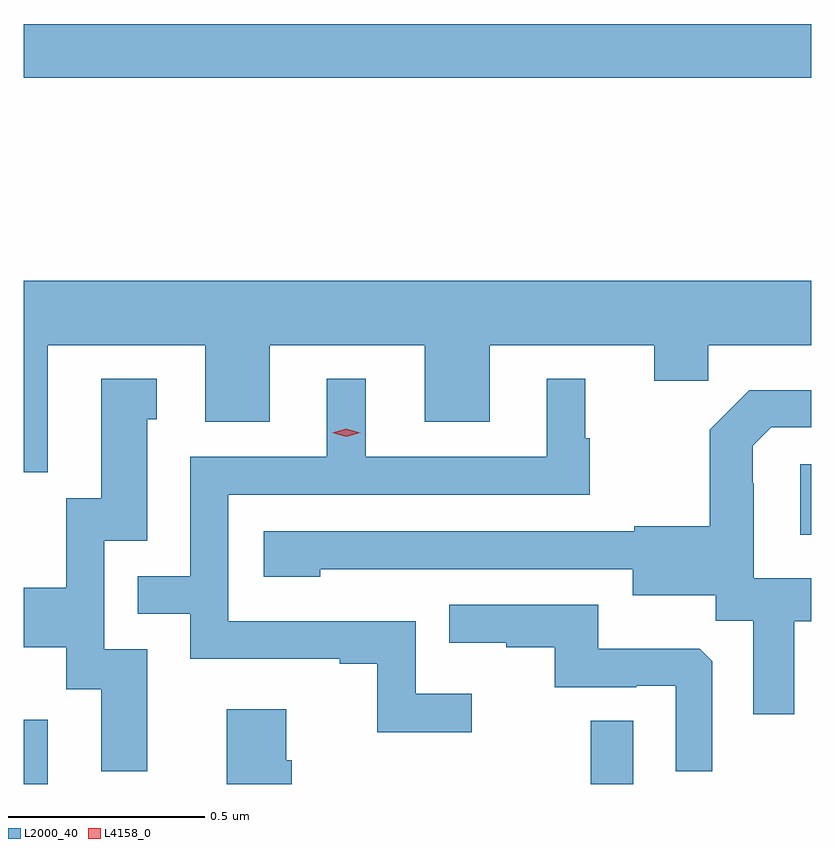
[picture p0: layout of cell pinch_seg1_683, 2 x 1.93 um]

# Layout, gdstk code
import gdstk
lib = gdstk.Library(unit=1e-6, precision=1e-09)
def R(c, l, rs):  # rectangles x0, y0, x1, y1
    for r in rs: c.add(gdstk.rectangle(r[:2], r[2:], *l))
def P(c, l, *ps):  # polygons
    for p in ps: c.add(gdstk.Polygon(p, *l))
L2000_40 = (2000, 40)
L4158_0 = (4158, 0)

pinch_seg1_683 = lib.new_cell('pinch_seg1_683')
R(pinch_seg1_683, L2000_40, [(833.34,577.257,833.401,577.42), (834.78,577.257,834.888,577.418), (835.313,577.89,835.34,578.07), (833.34,579.052,835.34,579.188)])
P(pinch_seg1_683, L2000_40, [(833.401,578.372),(833.801,578.372),(833.801,578.178),(833.965,578.178),(833.965,578.372),(834.359,578.372),(834.359,578.178),(834.523,578.178),(834.523,578.372),(834.941,578.372),(834.941,578.282),(835.079,578.282),(835.079,578.372),(835.34,578.372),(835.34,578.536),(833.34,578.536),(833.34,578.049),(833.401,578.049)],
  [(833.653,577.599),(833.544,577.599),(833.544,577.875),(833.653,577.875),(833.653,578.184),(833.677,578.184),(833.677,578.287),(833.537,578.287),(833.537,577.983),(833.448,577.983),(833.448,577.756),(833.34,577.756),(833.34,577.604),(833.447,577.604),(833.447,577.498),(833.537,577.498),(833.537,577.29),(833.653,577.29)],
  [(834.478,577.486),(834.336,577.486),(834.336,577.671),(833.859,577.671),(833.859,577.992),(834.778,577.992),(834.778,578.136),(834.766,578.136),(834.766,578.287),(834.668,578.287),(834.668,578.088),(834.208,578.088),(834.208,578.287),(834.11,578.287),(834.11,578.088),(833.763,578.088),(833.763,577.785),(833.629,577.785),(833.629,577.689),(833.763,577.689),(833.763,577.575),(834.143,577.575),(834.143,577.563),(834.238,577.563),(834.238,577.388),(834.478,577.388)],
  [(835.297,577.67),(835.34,577.67),(835.34,577.78),(835.194,577.78),(835.194,578.021),(835.192,578.021),(835.192,578.116),(835.239,578.163),(835.34,578.163),(835.34,578.257),(835.183,578.257),(835.083,578.157),(835.083,577.912),(834.891,577.912),(834.891,577.899),(833.949,577.899),(833.949,577.784),(834.093,577.784),(834.093,577.802),(834.329,577.802),(834.329,577.803),(834.887,577.803),(834.887,577.736),(835.098,577.736),(835.098,577.672),(835.193,577.672),(835.193,577.434),(835.297,577.434)],
  [(835.089,577.569),(835.057,577.601),(834.799,577.601),(834.799,577.713),(834.421,577.713),(834.421,577.616),(834.565,577.616),(834.565,577.605),(834.689,577.605),(834.689,577.503),(834.896,577.503),(834.896,577.506),(834.996,577.506),(834.996,577.289),(835.089,577.289)],
  [(834.02,577.317),(834.007,577.317),(834.007,577.447),(833.855,577.447),(833.855,577.257),(834.02,577.257)])
P(pinch_seg1_683, L4158_0, [(834.159,578.139),(834.124,578.149),(834.123,578.149),(834.124,578.149),(834.159,578.159),(834.194,578.149),(834.195,578.149),(834.194,578.149)])

lib.write_gds('pinch_seg1_683.gds')
